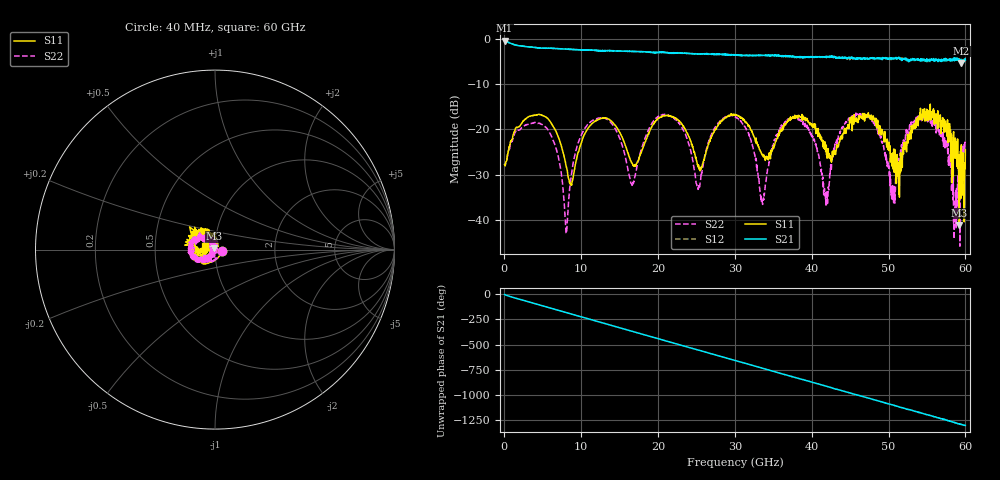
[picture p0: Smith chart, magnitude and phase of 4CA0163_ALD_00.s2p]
! File created by 'SoftPlot +Plus+ Measurement Management Software'
! SoftPlot +Plus+ Measurement Management Software
! Start 40.000000 MHz  Stop 60.000000 GHz  Points 1601
# MHZ S RI R 50
! S-Parameter data, F S11 S21 S12 S22
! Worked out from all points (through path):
!   1601 points, 40 MHz to 60 GHz, reference 50 ohm
!   highest |S21| = -0.39 dB at 40 MHz (marker M1); lowest = -5.4 dB at 59.48 GHz (marker M2)
!   group delay of S21, straight-line fit = 60.3 ps
!   lowest |S11| = -41.2 dB at 59.21 GHz (marker M3), VSWR 1.02, Z = 49.4 + j0.673 ohm
!   |S11| at or under -10 dB: start of sweep to end of sweep
!   |S22| runs from -45.8 to -16.4 dB; largest |S21 - S12| = 0.059
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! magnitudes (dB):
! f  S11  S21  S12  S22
! 40 MHz  -27.8  -0.4  -0.4  -27.6
! 5.287 GHz  -17.2  -2.1  -2.1  -19.4
! 8.097 GHz  -28.5  -2.3  -2.3  -42.9
! 10.05 GHz  -22.9  -2.5  -2.5  -21.2
! 13.72 GHz  -17.9  -2.6  -2.6  -18.3
! 16.64 GHz  -27.5  -2.8  -2.8  -32.4
! 20.05 GHz  -17.6  -3.1  -3.0  -17.1
! 23.09 GHz  -18.8  -3.1  -3.2  -19.4
! 25.22 GHz  -28.3  -3.3  -3.4  -33.3
! 30.02 GHz  -16.9  -3.5  -3.5  -17.2
! 33.58 GHz  -25.7  -3.7  -3.6  -36.2
! 36.2 GHz  -19.5  -3.8  -3.7  -19.0
! 40.03 GHz  -18.9  -4.0  -4.0  -21.5
! 41.86 GHz  -23.9  -3.9  -4.0  -37.1
! 45.5 GHz  -17.4  -4.4  -4.4  -17.2
! 50.03 GHz  -24.7  -4.5  -4.5  -28.9
! 51.23 GHz  -27.8  -4.4  -4.4  -28.8
! 54.98 GHz  -15.6  -4.4  -5.1  -17.5
! 58.69 GHz  -22.0  -4.8  -4.6  -40.5
! 59.21 GHz  -41.2  -5.1  -4.4  -32.3
! 59.48 GHz  -23.4  -5.4  -5.0  -27.9
! 60 GHz  -24.5  -4.7  -4.7  -23.5
